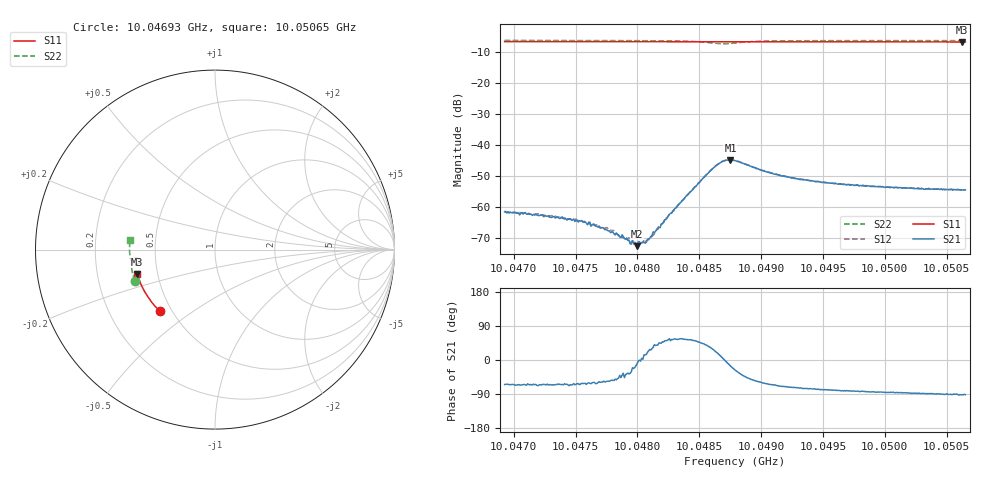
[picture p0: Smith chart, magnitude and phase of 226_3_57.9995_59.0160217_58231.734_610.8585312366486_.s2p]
#  HZ  S  RI  R  50.00
! Rohde & Schwarz Vector Network Analyzer
! Rohde-Schwarz,ZNB20-2Port,1311601062101988,3.16
! Created: UTC 3/21/2024, 1:00:22 AM
! freq[Hz]  re:S11  im:S11  re:S21  im:S21  re:S12  im:S12  re:S22  im:S22
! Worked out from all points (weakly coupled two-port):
!   401 points, 10.04693 GHz to 10.05065 GHz, reference 50 ohm
!   highest |S21| = -44.79 dB at 10.04875 GHz (marker M1); lowest = -72.4 dB at 10.048 GHz (marker M2)
!   lowest |S11| = -6.9 dB at 10.05062 GHz (marker M3), VSWR 2.66, Z = 19.2 - j6.55 ohm
!   |S11| at or under -10 dB: nowhere
!   |S22| runs from -7.4 to -6.4 dB; largest |S21 - S12| = 0.00039
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1.0046926e10  -0.3085 -0.342  0.000362 -0.000762  0.000427 -0.000753  -0.4466 -0.1746
1.0047196e10  -0.3212 -0.3293  0.000283 -0.000686  0.000379 -0.00069  -0.4525 -0.1571
1.004755e10  -0.337 -0.312  0.000293 -0.000539  0.000298 -0.000532  -0.4591 -0.1329
1.0047737e10  -0.345 -0.3025  0.000231 -0.00037  0.000256 -0.000372  -0.462 -0.1198
1.0047802e10  -0.3476 -0.2991  0.000236 -0.000323  0.000288 -0.000317  -0.4628 -0.115
1.0047895e10  -0.3516 -0.2943  0.000217 -0.00023  0.000248 -0.000197  -0.4639 -0.108
1.004796e10  -0.3544 -0.291  0.000275 -0.000102  0.000274 -0.000116  -0.4647 -0.1029
1.0047998e10  -0.3557 -0.289  0.000237 -4.28e-05  0.000235 -3.82e-05  -0.4648 -0.0999
1.0048053e10  -0.358 -0.286  0.00027 6.53e-05  0.000283 6.75e-05  -0.4653 -0.0953
1.0048081e10  -0.3591 -0.2845  0.000287 0.000103  0.000264 0.000138  -0.4654 -0.0929
1.0048128e10  -0.361 -0.2823  0.000337 0.000223  0.000288 0.000212  -0.4657 -0.0891
1.0048175e10  -0.3628 -0.2797  0.000335 0.000336  0.000315 0.000377  -0.4655 -0.085
1.0048352e10  -0.3695 -0.2701  0.000675 0.001  0.000629 0.00104  -0.463 -0.0676
1.0048612e10  -0.3786 -0.2556  0.00377 0.00198  0.00368 0.00225  -0.434 -0.0457
1.0048687e10  -0.3811 -0.2515  0.00544 0.000556  0.0054 0.000899  -0.4207 -0.0571
1.0048752e10  -0.3832 -0.248  0.00555 -0.00153  0.00571 -0.00123  -0.4226 -0.0731
1.0048789e10  -0.3847 -0.2462  0.00504 -0.0025  0.00525 -0.00219  -0.4293 -0.0794
1.0049097e10  -0.3949 -0.2286  0.00144 -0.00317  0.00163 -0.00313  -0.4668 -0.061
1.0049414e10  -0.4046 -0.2102  0.000621 -0.0026  0.000798 -0.00255  -0.4741 -0.033
1.0050038e10  -0.421 -0.1724  0.000155 -0.00207  0.000277 -0.00209  -0.4764 0.0131
1.0050625e10  -0.4332 -0.1357  -5.63e-05 -0.00191  7.62e-05 -0.00191  -0.4733 0.0533
1.0050653e10  -0.4338 -0.134  -4.83e-05 -0.00191  3.06e-05 -0.00188  -0.473 0.055
